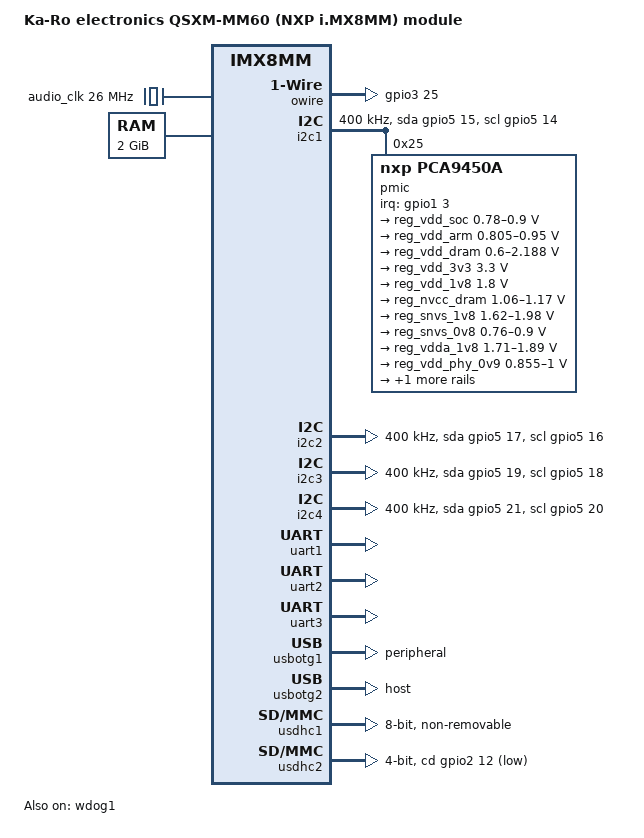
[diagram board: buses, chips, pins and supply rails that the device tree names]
// SPDX-License-Identifier: (GPL-2.0 OR MIT)
/*
 * Copyright (C) 2020 Lothar Waßmann <LW@KARO-electronics.de>
 *
 */

/dts-v1/;

#include "imx8mm.dtsi"

/ {
	model = "Ka-Ro electronics QSXM-MM60 (NXP i.MX8MM) module";
	compatible = "karo,imx8mm-qsxm", "fsl,imx8mm";

	aliases {
		i2c0 = &i2c1;
		i2c1 = &i2c2;
		i2c2 = &i2c3;
		mmc0 = &usdhc1;
		mmc1 = &usdhc2;
		usb-host = &usbotg2;
		usbotg = &usbotg1;
	};

	chosen {
		stdout-path = "serial0:115200";
	};

	clocks {
		#address-cells = <1>;
		#size-cells = <0>;

		audio_clk: clock@0 {
			compatible = "fixed-clock";
			reg = <0>;
			#clock-cells = <0>;
			clock-frequency = <26000000>;
		};
	};

	memory@40000000 {
		device_type = "memory";
		reg = <0x0 0x40000000 0 0x80000000>;
	};

	owire {
		compatible = "w1-gpio";
		pinctrl-names = "default";
		pinctrl-0 = <&pinctrl_owire>;
		gpios = <&gpio3 25 (GPIO_ACTIVE_HIGH | GPIO_OPEN_DRAIN)>;
		linux,open-drain;
	};

	usbg1: usbg1 {
		compatible = "fsl,imx27-usb-gadget";
		dr_mode = "peripheral";
		chipidea,usb = <&usbotg1>;
		status = "okay";
	};

	usbg2: usbg2 {
		compatible = "fsl,imx27-usb-gadget";
		chipidea,usb = <&usbotg2>;
		status = "okay";
	};
};

&A53_0 {
	cpu-supply = <&reg_vdd_arm>;
	arm-supply = <&reg_vdd_arm>;
	/delete-property/ cpu-idle-states;
};

&i2c1 {
	pinctrl-names = "default", "gpio";
	pinctrl-0 = <&pinctrl_i2c1>;
	pinctrl-1 = <&pinctrl_i2c1_gpio>;
	clock-frequency = <400000>;
	scl-gpios = <&gpio5 14 (GPIO_ACTIVE_HIGH | GPIO_OPEN_DRAIN)>;
	sda-gpios = <&gpio5 15 (GPIO_ACTIVE_HIGH | GPIO_OPEN_DRAIN)>;
	status = "okay";

	pmic@25 {
		reg = <0x25>;
		compatible = "nxp,pca9450a";
		pinctrl-names = "default";
		pinctrl-0 = <&pinctrl_pmic>;
		interrupt-parent = <&gpio1>;
		interrupts = <3 IRQ_TYPE_EDGE_FALLING>;
		status = "okay";

		regulators {
			reg_vdd_soc: BUCK1 {
				regulator-name = "vdd_soc_0v8";
				regulator-min-microvolt = <780000>;
				regulator-max-microvolt = <900000>;
				regulator-boot-on;
				regulator-always-on;
				regulator-ramp-delay = <3125>;
			};

			reg_vdd_arm: BUCK2 {
				regulator-name = "vdd_arm_0v9";
				regulator-min-microvolt = <805000>;
				regulator-max-microvolt = <950000>;
				regulator-boot-on;
				regulator-always-on;
				regulator-ramp-delay = <3125>;
				nxp,dvs-run-voltage = <950000>;
				nxp,dvs-standby-voltage = <850000>;
			};

			reg_vdd_dram: BUCK3 {
				regulator-name = "vdd_dram&pu_0v9";
				regulator-min-microvolt = <600000>;
				regulator-max-microvolt = <2187500>;
				regulator-boot-on;
				regulator-always-on;
				regulator-ramp-delay = <3125>;
			};

			reg_vdd_3v3: BUCK4 {
				regulator-name = "3V3";
				regulator-min-microvolt = <3300000>;
				regulator-max-microvolt = <3300000>;
				regulator-boot-on;
				regulator-always-on;
			};

			reg_vdd_1v8: BUCK5 {
				regulator-name = "1V8";
				regulator-min-microvolt = <1800000>;
				regulator-max-microvolt = <1800000>;
				regulator-boot-on;
				regulator-always-on;
			};

			reg_nvcc_dram: BUCK6 {
				regulator-name = "nvcc_dram";
				regulator-min-microvolt = <1060000>;
				regulator-max-microvolt = <1170000>;
				regulator-boot-on;
				regulator-always-on;
			};

			reg_snvs_1v8: LDO1 {
				regulator-name = "NVCC_SNVS_1V8";
				regulator-min-microvolt = <1620000>;
				regulator-max-microvolt = <1980000>;
				regulator-boot-on;
				regulator-always-on;
			};

			reg_snvs_0v8: LDO2 {
				regulator-name = "VDD_SNVS_0V8";
				regulator-min-microvolt = <760000>;
				regulator-max-microvolt = <900000>;
				regulator-boot-on;
				regulator-always-on;
			};

			reg_vdda_1v8: LDO3 {
				regulator-name = "VDDA_1V8";
				regulator-min-microvolt = <1710000>;
				regulator-max-microvolt = <1890000>;
				regulator-boot-on;
				regulator-always-on;
			};

			reg_vdd_phy_0v9: LDO4 {
				regulator-name = "VDD_PHY_0V9";
				regulator-min-microvolt = <855000>;
				regulator-max-microvolt = <1000000>;
				regulator-boot-on;
				regulator-always-on;
			};

			ldo5_reg: LDO5 {
				regulator-name = "LDO5";
				regulator-min-microvolt = <1800000>;
				regulator-max-microvolt = <3300000>;
			};
		};
	};
};

&i2c2 {
	clock-frequency = <400000>;
	pinctrl-names = "default", "gpio";
	pinctrl-0 = <&pinctrl_i2c2>;
	pinctrl-1 = <&pinctrl_i2c2_gpio>;
	sda-gpios = <&gpio5 17 (GPIO_ACTIVE_HIGH | GPIO_OPEN_DRAIN)>;
	scl-gpios = <&gpio5 16 (GPIO_ACTIVE_HIGH | GPIO_OPEN_DRAIN)>;
	status = "okay";
};

&i2c3 {
	clock-frequency = <400000>;
	pinctrl-names = "default", "gpio";
	pinctrl-0 = <&pinctrl_i2c3>;
	pinctrl-1 = <&pinctrl_i2c3_gpio>;
	sda-gpios = <&gpio5 19 (GPIO_ACTIVE_HIGH | GPIO_OPEN_DRAIN)>;
	scl-gpios = <&gpio5 18 (GPIO_ACTIVE_HIGH | GPIO_OPEN_DRAIN)>;
	status = "okay";
};

&i2c4 {
	clock-frequency = <400000>;
	pinctrl-names = "default", "gpio";
	pinctrl-0 = <&pinctrl_i2c4>;
	pinctrl-1 = <&pinctrl_i2c4_gpio>;
	sda-gpios = <&gpio5 21 (GPIO_ACTIVE_HIGH | GPIO_OPEN_DRAIN)>;
	scl-gpios = <&gpio5 20 (GPIO_ACTIVE_HIGH | GPIO_OPEN_DRAIN)>;
	status = "okay";
};

&uart1 { /* console */
	pinctrl-names = "default";
	pinctrl-0 = <&pinctrl_uart1 &pinctrl_uart1_rtscts>;
	uart-has-rtscts;
	status = "okay";
};

&uart2 {
	pinctrl-names = "default";
	pinctrl-0 = <&pinctrl_uart2 &pinctrl_uart2_rtscts>;
	uart-has-rtscts;
	status = "okay";
};

&uart3 {
	pinctrl-names = "default";
	pinctrl-0 = <&pinctrl_uart3 &pinctrl_uart3_rtscts>;
	uart-has-rtscts;
	status = "okay";
};

&usbotg1 {
	dr_mode = "peripheral";
	status = "okay";
};

&usbotg2 {
	dr_mode = "host";
	status = "okay";
};

&usdhc1 { /* eMMC */
	pinctrl-names = "default", "state_100mhz", "state_200mhz";
	pinctrl-0 = <&pinctrl_usdhc1>;
	pinctrl-1 = <&pinctrl_usdhc1_100mhz>;
	pinctrl-2 = <&pinctrl_usdhc1_200mhz>;
	voltage-ranges = <3300 3300>;
	bus-width = <8>;
	non-removable;
	status = "okay";
};

&usdhc2 {
	pinctrl-names = "default";
	pinctrl-0 = <&pinctrl_usdhc2 &pinctrl_usdhc2_cd>;
	voltage-ranges = <3300 3300>;
	bus-width = <4>;
	cd-gpios = <&gpio2 12 GPIO_ACTIVE_LOW>;
	no-1-8-v;
	fsl,wp-controller;
	status = "okay";
};

&wdog1 {
	pinctrl-names = "default";
	status = "okay";
};

&iomuxc {
	pinctrl_i2c1: i2c1grp {
		fsl,pins = <
			MX8MM_IOMUXC_I2C1_SCL_I2C1_SCL			0x400001c2
			MX8MM_IOMUXC_I2C1_SDA_I2C1_SDA			0x400001c2
		>;
	};

	pinctrl_i2c1_gpio: i2c1-gpiogrp {
		fsl,pins = <
			MX8MM_IOMUXC_I2C1_SCL_GPIO5_IO14		0x400001c2
			MX8MM_IOMUXC_I2C1_SDA_GPIO5_IO15		0x400001c2
		>;
	};

	pinctrl_i2c2: i2c2grp {
		fsl,pins = <
			MX8MM_IOMUXC_I2C2_SCL_I2C2_SCL			0x400001c2
			MX8MM_IOMUXC_I2C2_SDA_I2C2_SDA			0x400001c2
		>;
	};

	pinctrl_i2c2_gpio: i2c2-gpiogrp {
		fsl,pins = <
			MX8MM_IOMUXC_I2C2_SCL_GPIO5_IO16		0x400001c2
			MX8MM_IOMUXC_I2C2_SDA_GPIO5_IO17		0x400001c2
		>;
	};

	pinctrl_i2c3: i2c3grp {
		fsl,pins = <
			MX8MM_IOMUXC_I2C3_SCL_I2C3_SCL			0x400001c2
			MX8MM_IOMUXC_I2C3_SDA_I2C3_SDA			0x400001c2
		>;
	};

	pinctrl_i2c3_gpio: i2c3-gpiogrp {
		fsl,pins = <
			MX8MM_IOMUXC_I2C3_SCL_GPIO5_IO18		0x400001c2
			MX8MM_IOMUXC_I2C3_SDA_GPIO5_IO19		0x400001c2
		>;
	};

	pinctrl_i2c4: i2c4grp {
		fsl,pins = <
			MX8MM_IOMUXC_I2C4_SCL_I2C4_SCL			0x400001c2
			MX8MM_IOMUXC_I2C4_SDA_I2C4_SDA			0x400001c2
		>;
	};

	pinctrl_i2c4_gpio: i2c4-gpiogrp {
		fsl,pins = <
			MX8MM_IOMUXC_I2C4_SCL_GPIO5_IO20		0x400001c2
			MX8MM_IOMUXC_I2C4_SDA_GPIO5_IO21		0x400001c2
		>;
	};

	pinctrl_led: ledgrp {
		fsl,pins = <
			MX8MM_IOMUXC_GPIO1_IO02_GPIO1_IO2		0x06
		>;
	};

	pinctrl_owire: owiregrp {
		fsl,pins = <
			MX8MM_IOMUXC_SAI5_MCLK_GPIO3_IO25		0x400001c0
		>;
	};

	pinctrl_pmic: pmicgrp {
		fsl,pins = <
			MX8MM_IOMUXC_GPIO1_IO03_GPIO1_IO3		0x1c0
		>;
	};

	pinctrl_uart1: uart1grp {
		fsl,pins = <
			MX8MM_IOMUXC_UART1_RXD_UART1_DCE_RX		0x140
			MX8MM_IOMUXC_UART1_TXD_UART1_DCE_TX		0x140
		>;
	};

	pinctrl_uart1_rtscts: uart1-rtsctsgrp {
		fsl,pins = <
			MX8MM_IOMUXC_UART3_TXD_UART1_DCE_RTS_B		0x140
			MX8MM_IOMUXC_UART3_RXD_UART1_DCE_CTS_B		0x140
		>;
	};

	pinctrl_uart2: uart2grp {
		fsl,pins = <
			MX8MM_IOMUXC_UART2_RXD_UART2_DCE_RX		0x140
			MX8MM_IOMUXC_UART2_TXD_UART2_DCE_TX		0x140
		>;
	};

	pinctrl_uart2_rtscts: uart2-rtsctsgrp {
		fsl,pins = <
			MX8MM_IOMUXC_UART4_TXD_UART2_DCE_RTS_B		0x140
			MX8MM_IOMUXC_UART4_RXD_UART2_DCE_CTS_B		0x140
		>;
	};

	pinctrl_uart3: uart3grp {
		fsl,pins = <
			MX8MM_IOMUXC_ECSPI1_SCLK_UART3_DCE_RX		0x140
			MX8MM_IOMUXC_ECSPI1_MOSI_UART3_DCE_TX		0x140
		>;
	};

	pinctrl_uart3_rtscts: uart3-rtsctsgrp {
		fsl,pins = <
			MX8MM_IOMUXC_ECSPI1_SS0_UART3_DCE_RTS_B		0x140
			MX8MM_IOMUXC_ECSPI1_MISO_UART3_DCE_CTS_B	0x140
		>;
	};

	pinctrl_usdhc1: usdhc1grp {
		fsl,pins = <
			MX8MM_IOMUXC_SD1_CLK_USDHC1_CLK			0x190
			MX8MM_IOMUXC_SD1_CMD_USDHC1_CMD			0x150
			MX8MM_IOMUXC_SD1_DATA0_USDHC1_DATA0		0x1d0
			MX8MM_IOMUXC_SD1_DATA1_USDHC1_DATA1		0x1d0
			MX8MM_IOMUXC_SD1_DATA2_USDHC1_DATA2		0x1d0
			MX8MM_IOMUXC_SD1_DATA3_USDHC1_DATA3		0x1d0
			MX8MM_IOMUXC_SD1_DATA4_USDHC1_DATA4		0x1d0
			MX8MM_IOMUXC_SD1_DATA5_USDHC1_DATA5		0x1d0
			MX8MM_IOMUXC_SD1_DATA6_USDHC1_DATA6		0x1d0
			MX8MM_IOMUXC_SD1_DATA7_USDHC1_DATA7		0x1d0
			MX8MM_IOMUXC_SD1_STROBE_USDHC1_STROBE		0x156
			MX8MM_IOMUXC_SD1_RESET_B_USDHC1_RESET_B		0x156
		>;
	};

	pinctrl_usdhc1_100mhz: usdhc1grp100mhz {
		fsl,pins = <
			MX8MM_IOMUXC_SD1_CLK_USDHC1_CLK			0x194
			MX8MM_IOMUXC_SD1_CMD_USDHC1_CMD			0x1d4
			MX8MM_IOMUXC_SD1_DATA0_USDHC1_DATA0		0x1d4
			MX8MM_IOMUXC_SD1_DATA1_USDHC1_DATA1		0x1d4
			MX8MM_IOMUXC_SD1_DATA2_USDHC1_DATA2		0x1d4
			MX8MM_IOMUXC_SD1_DATA3_USDHC1_DATA3		0x1d4
			MX8MM_IOMUXC_SD1_DATA4_USDHC1_DATA4		0x1d4
			MX8MM_IOMUXC_SD1_DATA5_USDHC1_DATA5		0x1d4
			MX8MM_IOMUXC_SD1_DATA6_USDHC1_DATA6		0x1d4
			MX8MM_IOMUXC_SD1_DATA7_USDHC1_DATA7		0x1d4
			MX8MM_IOMUXC_SD1_STROBE_USDHC1_STROBE		0x156
			MX8MM_IOMUXC_SD1_RESET_B_USDHC1_RESET_B		0x156
		>;
	};

	pinctrl_usdhc1_200mhz: usdhc1grp200mhz {
		fsl,pins = <
			MX8MM_IOMUXC_SD1_CLK_USDHC1_CLK			0x196
			MX8MM_IOMUXC_SD1_CMD_USDHC1_CMD			0x1d6
			MX8MM_IOMUXC_SD1_DATA0_USDHC1_DATA0		0x1d6
			MX8MM_IOMUXC_SD1_DATA1_USDHC1_DATA1		0x1d6
			MX8MM_IOMUXC_SD1_DATA2_USDHC1_DATA2		0x1d6
			MX8MM_IOMUXC_SD1_DATA3_USDHC1_DATA3		0x1d6
			MX8MM_IOMUXC_SD1_DATA4_USDHC1_DATA4		0x1d6
			MX8MM_IOMUXC_SD1_DATA5_USDHC1_DATA5		0x1d6
			MX8MM_IOMUXC_SD1_DATA6_USDHC1_DATA6		0x1d6
			MX8MM_IOMUXC_SD1_DATA7_USDHC1_DATA7		0x1d6
			MX8MM_IOMUXC_SD1_STROBE_USDHC1_STROBE		0x156
			MX8MM_IOMUXC_SD1_RESET_B_USDHC1_RESET_B		0x156
		>;
	};

	pinctrl_usdhc2: usdhc2grp {
		fsl,pins = <
			MX8MM_IOMUXC_SD2_CLK_USDHC2_CLK			0x190
			MX8MM_IOMUXC_SD2_CMD_USDHC2_CMD			0x1d0
			MX8MM_IOMUXC_SD2_DATA0_USDHC2_DATA0		0x1d0
			MX8MM_IOMUXC_SD2_DATA1_USDHC2_DATA1		0x1d0
			MX8MM_IOMUXC_SD2_DATA2_USDHC2_DATA2		0x1d0
			MX8MM_IOMUXC_SD2_DATA3_USDHC2_DATA3		0x1d0
		>;
	};

	pinctrl_usdhc2_cd: usdhc2-cdgrp {
		fsl,pins = <
			MX8MM_IOMUXC_SD2_CD_B_GPIO2_IO12		0x1c0
		>;
	};
};
